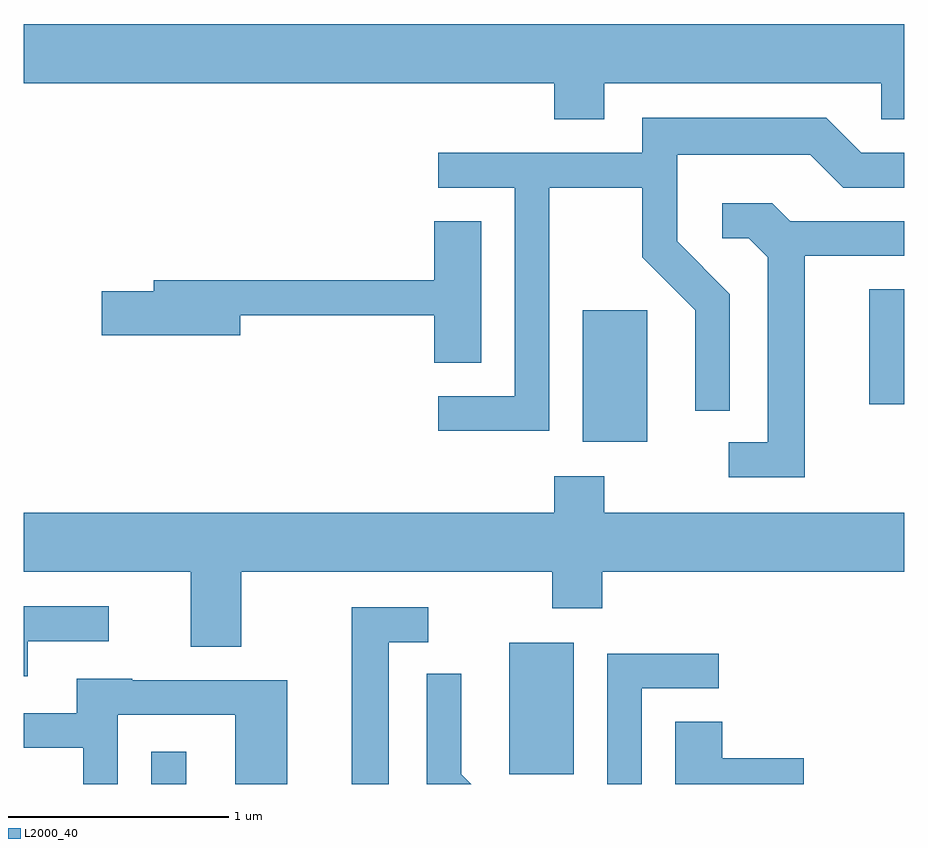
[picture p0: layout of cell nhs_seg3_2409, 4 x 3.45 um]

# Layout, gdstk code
import gdstk
lib = gdstk.Library(unit=1e-6, precision=1e-09)
def R(c, l, rs):  # rectangles x0, y0, x1, y1
    for r in rs: c.add(gdstk.rectangle(r[:2], r[2:], *l))
def P(c, l, *ps):  # polygons
    for p in ps: c.add(gdstk.Polygon(p, *l))
L2000_40 = (2000, 40)

nhs_seg3_2409 = lib.new_cell('nhs_seg3_2409')
R(nhs_seg3_2409, L2000_40, [(256.191,1173.892,256.349,1174.038), (257.816,1173.936,258.109,1174.534), (258.151,1175.446,258.444,1176.044), (259.451,1175.616,259.611,1176.139)])
P(nhs_seg3_2409, L2000_40, [(258.249,1177.076),(259.506,1177.076),(259.506,1176.911),(259.611,1176.911),(259.611,1177.344),(255.611,1177.344),(255.611,1177.076),(258.021,1177.076),(258.021,1176.911),(258.249,1176.911)],
  [(257.999,1176.601),(258.421,1176.601),(258.421,1176.284),(258.661,1176.044),(258.661,1175.588),(258.819,1175.588),(258.819,1176.117),(258.579,1176.357),(258.579,1176.751),(259.183,1176.751),(259.334,1176.601),(259.611,1176.601),(259.611,1176.759),(259.416,1176.759),(259.257,1176.919),(258.421,1176.919),(258.421,1176.759),(257.493,1176.759),(257.493,1176.601),(257.841,1176.601),(257.841,1175.654),(257.493,1175.654),(257.493,1175.496),(257.999,1175.496)],
  [(259.159,1176.291),(259.611,1176.291),(259.611,1176.449),(259.092,1176.449),(259.012,1176.529),(258.783,1176.529),(258.783,1176.371),(258.904,1176.371),(258.991,1176.284),(258.991,1175.444),(258.813,1175.444),(258.813,1175.286),(259.159,1175.286)],
  [(257.689,1176.449),(257.476,1176.449),(257.476,1176.179),(256.201,1176.179),(256.201,1176.129),(255.966,1176.129),(255.966,1175.931),(256.594,1175.931),(256.594,1176.021),(257.476,1176.021),(257.476,1175.806),(257.689,1175.806)],
  [(256.599,1174.856),(258.011,1174.856),(258.011,1174.691),(258.239,1174.691),(258.239,1174.856),(259.611,1174.856),(259.611,1175.124),(258.249,1175.124),(258.249,1175.289),(258.021,1175.289),(258.021,1175.124),(255.611,1175.124),(255.611,1174.856),(256.371,1174.856),(256.371,1174.516),(256.599,1174.516)],
  [(255.629,1174.541),(255.998,1174.541),(255.998,1174.699),(255.611,1174.699),(255.611,1174.381),(255.629,1174.381)],
  [(257.269,1174.536),(257.448,1174.536),(257.448,1174.694),(257.101,1174.694),(257.101,1173.892),(257.269,1173.892)],
  [(258.419,1174.326),(258.767,1174.326),(258.767,1174.484),(258.261,1174.484),(258.261,1173.892),(258.419,1173.892)],
  [(257.599,1173.937),(257.599,1174.393),(257.441,1174.393),(257.441,1173.892),(257.644,1173.892)],
  [(256.039,1174.206),(256.571,1174.206),(256.571,1173.892),(256.809,1173.892),(256.809,1174.364),(256.105,1174.364),(256.105,1174.369),(255.851,1174.369),(255.851,1174.214),(255.611,1174.214),(255.611,1174.056),(255.881,1174.056),(255.881,1173.892),(256.039,1173.892)],
  [(259.154,1174.009),(258.784,1174.009),(258.784,1174.174),(258.571,1174.174),(258.571,1173.892),(259.154,1173.892)])

lib.write_gds('nhs_seg3_2409.gds')
